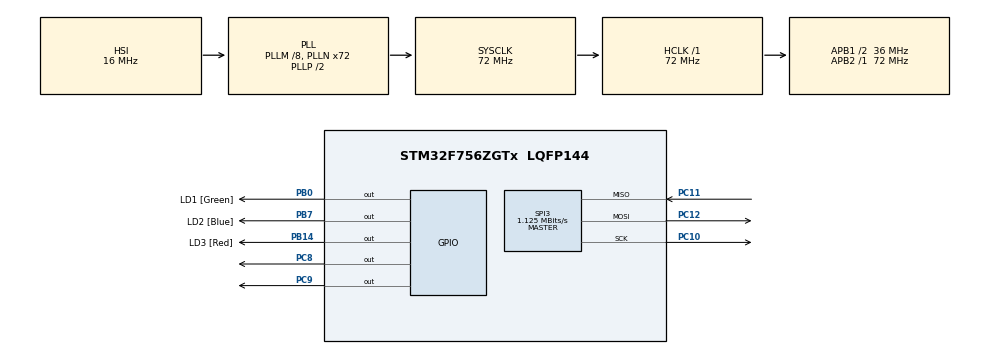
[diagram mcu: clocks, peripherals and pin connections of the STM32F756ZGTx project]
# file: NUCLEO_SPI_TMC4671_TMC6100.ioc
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Mcu.Family=STM32F7
Mcu.Name=STM32F756ZGTx
Mcu.Package=LQFP144
NVIC.PriorityGroup=NVIC_PRIORITYGROUP_4
PB0.GPIO_Label=LD1 [Green]
PB0.Signal=GPIO_Output
PB14.GPIO_Label=LD3 [Red]
PB14.Signal=GPIO_Output
PB7.GPIO_Label=LD2 [Blue]
PB7.Signal=GPIO_Output
PC10.Mode=Full_Duplex_Master
PC10.Signal=SPI3_SCK
PC11.Mode=Full_Duplex_Master
PC11.Signal=SPI3_MISO
PC12.Mode=Full_Duplex_Master
PC12.Signal=SPI3_MOSI
PC8.PinState=GPIO_PIN_SET
PC8.Signal=GPIO_Output
PC9.PinState=GPIO_PIN_SET
PC9.Signal=GPIO_Output
PH0/OSC_IN.Mode=HSE-External-Oscillator
PH0/OSC_IN.Signal=RCC_OSC_IN
PH1/OSC_OUT.Mode=HSE-External-Oscillator
PH1/OSC_OUT.Signal=RCC_OSC_OUT
ProjectManager.HeapSize=0x200
ProjectManager.StackSize=0x400
ProjectManager.TargetToolchain=STM32CubeIDE
RCC.48MHZClocksFreq_Value=24000000
RCC.AHBFreq_Value=72000000
RCC.APB1CLKDivider=RCC_HCLK_DIV2
RCC.APB1Freq_Value=36000000
RCC.APB1TimFreq_Value=72000000
RCC.APB2Freq_Value=72000000
RCC.APB2TimFreq_Value=72000000
RCC.CortexFreq_Value=72000000
RCC.HCLKFreq_Value=72000000
RCC.HSE_VALUE=8000000
RCC.HSI_VALUE=16000000
RCC.LSE_VALUE=32768
RCC.PLLM=8
RCC.PLLMUL=RCC_PLL_MUL9
RCC.PLLN=72
RCC.PLLQ=4
RCC.PRESCALERUSB=RCC_USBCLKSOURCE_PLL_DIV1_5
RCC.SYSCLKFreq_VALUE=72000000
RCC.SYSCLKSource=RCC_SYSCLKSOURCE_PLLCLK
RCC.SYSCLKSourceVirtual=RCC_SYSCLKSOURCE_PLLCLK
RCC.USBFreq_Value=36000000
RCC.VCOOutputFreq_Value=144000000
SPI3.BaudRatePrescaler=SPI_BAUDRATEPRESCALER_32
SPI3.CLKPhase=SPI_PHASE_2EDGE
SPI3.CLKPolarity=SPI_POLARITY_HIGH
SPI3.CalculateBaudRate=1.125 MBits/s
SPI3.DataSize=SPI_DATASIZE_8BIT
SPI3.Direction=SPI_DIRECTION_2LINES
SPI3.Mode=SPI_MODE_MASTER
SPI3.VirtualType=VM_MASTER
board=NUCLEO-F756ZG

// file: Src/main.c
/* USER CODE BEGIN Header */
/**
  ******************************************************************************
  * @file           : main.c
  * @brief          : Main program body
  ******************************************************************************
  * @attention
  *
  * Copyright (c) 2025 STMicroelectronics.
  * All rights reserved.
  *
  * This software is licensed under terms that can be found in the LICENSE file
  * in the root directory of this software component.
  * If no LICENSE file comes with this software, it is provided AS-IS.
  *
  ******************************************************************************
  */
/* USER CODE END Header */
#include "main.h"

/* USER CODE BEGIN Includes */
#include "string.h"
#include <stdio.h>

/* USER CODE END Includes */

/* USER CODE BEGIN PD */

#define DRV_CS_GPIO_Port GPIOC
#define DRV_CS_Pin GPIO_PIN_9

#define CTR_CS_GPIO_Port GPIOC
#define CTR_CS_Pin GPIO_PIN_8

// SPI Read/Write Masks
#define TMC4671_SPI_WRITE_MASK	0x80

// // Motor type &  PWM configuration
#define MOTOR_TYPE_N_POLE_PAIRS 0x1B
#define PWM_POLARITIES 0x17
#define PWM_MAXCNT 0x18
#define PWM_BBM_H_BBM_L 0x19
#define PWM_SV_CHOP 0x1A

// ADC configuration
#define ADC_I_SELECT 0x0A
#define dsADC_MCFG_B_MCFG_A 0x04
#define dsADC_MCLK_A 0x05
#define dsADC_MCLK_B 0x06
#define dsADC_MDEC_B_MDEC_A 0x07
#define ADC_I0_SCALE_OFFSET 0x09
#define ADC_I1_SCALE_OFFSET 0x08

// ABN encoder settings
#define ABN_DECODER_MODE 0x25
#define ABN_DECODER_PPR 0x26
#define ABN_DECODER_COUNT 0x27
#define ABN_DECODER_PHI_E_PHI_M_OFFSET 0x29

// Limits
#define PID_TORQUE_FLUX_LIMITS 0x5E

// PI settings
#define PID_TORQUE_P_TORQUE_I 0x56
#define PID_FLUX_P_FLUX_I 0x54

// Init encoder (mode 0)
#define MODE_RAMP_MODE_MOTION 0x63 // 1. Switches to Open Loop Mode
#define ABN_DECODER_PHI_E_PHI_M_OFFSET 0x29
#define PHI_E_SELECTION 0x52 // 2. Uses the internal Phi_E_Ext angle allocator
#define PHI_E_EXT 0x1C // 3. Sets the electrical target angle to exactly 0°
#define UQ_UD_EXT 0x24 // 4. Applies a strong voltage (Ud) to force lock the rotor
// wait(1000); // 5. Waits 1 second for the motor to physically snap and settle
#define ABN_DECODER_COUNT 0x27 // 6. Resets the encoder counter to 0 at this physical position

// Feedback selection
#define PHI_E_SELECTION 0x52 // Switches FOC commutation source to the ABN Encoder!
#define VELOCITY_SELECTION 0x50

#define PID_TORQUE_FLUX_TARGET 0x64

// PI tuning
#define PID_TORQUE_P_PID_TORQUE_I 0x56
#define PID_FLUX_P_PID_FLUX_I 0x54
#define PID_VELOCITY_P_VELOCITY_I 0x58
#define PID_POSITION_P_POSITION_I 0x5a
#define POSITION_SELECTION 0x51

// velocity target selection in velocity mode
#define PID_VELOCITY_TARGET 0x66

// position mode target selection
#define PID_POSITION_TARGET 0x68
#define PID_POSITION_ACTUAL 0x6B

/* USER CODE END PD */

SPI_HandleTypeDef hspi3;

void SystemClock_Config(void);
static void MX_GPIO_Init(void);
static void MX_SPI3_Init(void);
/* USER CODE BEGIN PFP */

void TMC6100_Write(uint8_t reg, uint32_t value)
{
    uint8_t tx[5];
    uint8_t rx[5] = {0};

    tx[0] = 0x80 | reg;                    // Write command (MSB=1)
    tx[1] = (value >> 24) & 0xFF;
    tx[2] = (value >> 16) & 0xFF;
    tx[3] = (value >> 8)  & 0xFF;
    tx[4] = value & 0xFF;

    HAL_GPIO_WritePin(DRV_CS_GPIO_Port, DRV_CS_Pin, GPIO_PIN_RESET);
    HAL_SPI_TransmitReceive(&hspi3, tx, rx, 5, 100);
    HAL_GPIO_WritePin(DRV_CS_GPIO_Port, DRV_CS_Pin, GPIO_PIN_SET);

    printf("Wrote 0x%08lX to register 0x%02X\r\n", value, reg);
}

void TMC4671_Write(uint8_t reg1, uint32_t value1)
{
    uint8_t tx1[5];
    uint8_t rx1[5] = {0};

    tx1[0] = 0x80 | reg1;                    // Write command (MSB=1)
    tx1[1] = (value1 >> 24) & 0xFF;
    tx1[2] = (value1 >> 16) & 0xFF;
    tx1[3] = (value1 >> 8)  & 0xFF;
    tx1[4] = value1 & 0xFF;

    HAL_GPIO_WritePin(CTR_CS_GPIO_Port, CTR_CS_Pin, GPIO_PIN_RESET);
    HAL_SPI_TransmitReceive(&hspi3, tx1, rx1, 5, 100);
    HAL_GPIO_WritePin(CTR_CS_GPIO_Port, CTR_CS_Pin, GPIO_PIN_SET);

    printf("Wrote 0x%08lX to register 0x%02X\r\n", value1, reg1);
}

uint32_t TMC6100_Read(uint8_t reg)
{
    uint8_t tx[5] = {0};
    uint8_t rx[5] = {0};

    tx[0] = reg;        // Read command (MSB=0)

    HAL_GPIO_WritePin(DRV_CS_GPIO_Port, DRV_CS_Pin, GPIO_PIN_RESET);
    HAL_SPI_TransmitReceive(&hspi3, tx, rx, 5, 100);
    HAL_GPIO_WritePin(DRV_CS_GPIO_Port, DRV_CS_Pin, GPIO_PIN_SET);

    uint32_t value = ((uint32_t)rx[1] << 24) | ((uint32_t)rx[2] << 16) |
                     ((uint32_t)rx[3] << 8)  | rx[4];

    printf("Read  reg 0x%02X = 0x%08lX\r\n", reg, value);
    return value;
}

uint32_t TMC4671_Read(uint8_t reg1)
{
    uint8_t tx1[5] = {0};
    uint8_t rx1[5] = {0};

    tx1[0] = reg1;        // Read command (MSB=0)

    HAL_GPIO_WritePin(CTR_CS_GPIO_Port, CTR_CS_Pin, GPIO_PIN_RESET);
    HAL_SPI_TransmitReceive(&hspi3, tx1, rx1, 5, 100);
    HAL_GPIO_WritePin(CTR_CS_GPIO_Port, CTR_CS_Pin, GPIO_PIN_SET);

    uint32_t value1 = ((uint32_t)rx1[1] << 24) | ((uint32_t)rx1[2] << 16) |
                     ((uint32_t)rx1[3] << 8)  | rx1[4];

    printf("Read  reg 0x%02X = 0x%08lX\r\n", reg1, value1);
    return value1;
}

void TMC6100_Init(void)
{
    printf("\r\n=== TMC6100 Safe Configuration ===\r\n");

    // Clear any pending status flags
    TMC6100_Write(0x01, 0xFFFFFFFF);   // GSTAT

    // ====================== GCONF TEST ======================
    // setting bit to 1 so we can see if it realy changes the register values, otherwise other values looks like are default settings
    uint32_t gconf = TMC6100_Read(0x00);
    printf("GCONF before = 0x%08lX   | singleline = %lu\r\n",
           gconf, (gconf >> 1) & 1);

    // === TEST: Set singleline = 1 ===
    gconf |= (1UL << 1);                    // Set bit 1 to 1
    TMC6100_Write(0x00, gconf);

    // Read back to verify
    gconf = TMC6100_Read(0x00);
    printf("GCONF after  = 0x%08lX   | singleline = %lu  (should be 1)\r\n",
           gconf, (gconf >> 1) & 1);

    // ====================== GCONF ======================
    // === 1. GCONF: Set only singleline bit to 0 ===

    //uint32_t gconf = TMC6100_Read(0x00);           // Read current value
    gconf = TMC6100_Read(0x00);           // Read current value
    printf("GCONF before modify = 0x%08lX   | singleline bit = %lu\r\n",
           gconf, (gconf >> 1) & 1);

    gconf &= ~(1UL << 1);                          // Clear bit 1 (singleline = 0)
    // 1UL = the number 1 as an unsigned long (32-bit). << 1 = shift left by 1 bit.
    // 1UL << 1 = 0b00000010 (binary) = 2 in decimal. This creates a mask with only bit 1 set.
    // ~ = bitwise NOT → inverts all bits.
    // So ~(1UL << 1) = 0b...11111101 (all bits 1 except bit 1 which is 0).
    // Result: This clears (sets to 0) only bit 1 of the register (gconf changed 1 bit), while leaving all other bits unchanged.
    // 1UL << 1		Mask for bit 1
    // ~(1UL << 1)	Clear only bit 1

    // gconf |= (1UL << x);                        // You can set other bits here if needed

    TMC6100_Write(0x00, gconf);

    // Verify after write
    gconf = TMC6100_Read(0x00);
    printf("GCONF after  modify = 0x%08lX   | singleline bit = %lu  (should be 0)\r\n",
           gconf, (gconf >> 1) & 1);

    // ====================== DRV_CONF ======================
    // === 2. DRV_CONF: Set only DRVSTRENGTH to 00 (weak) ===
    uint32_t drvconf = TMC6100_Read(0x0A);         // Read current value

    printf("DRV_CONF before = 0x%08lX   | DRVSTRENGTH = %lu (bits 19:18)\r\n",
               drvconf, (drvconf >> 18) & 3);

    // Force DRVSTRENGTH = 00 (weak)
    drvconf &= ~(3UL << 18);                       // Clear bits 19:18
    // You want to control 2 bits: bits 19 and 18 (DRVSTRENGTH).
    // 3UL in binary is 0b11 (two bits set to 1).
    // 3UL << 18 shifts these two 1s to the correct position by 18 positions:
    // 3UL << 18 = 0b0000 0000 0 -> OO <- 0 1100 0000 0000 0000 0000
    // So 3UL << 18 creates a mask for 2 bits.
    // ~ inverts it → all bits 1 except bits 19 and 18 which become 0.
    // &= applies this mask → clears both bit 19 and bit 18.
    // This is the standard way to clear a multi-bit field.
    // 3UL << 18	Mask for bits 19+18
    // ~(3UL << 18)	Clear bits 19 and 18

    // drvconf |= (0UL << 18);                     // 00 = weak (already cleared)
    TMC6100_Write(0x0A, drvconf);

    // Verify after write
    drvconf = TMC6100_Read(0x0A);
    printf("DRV_CONF after  = 0x%08lX   | DRVSTRENGTH = %lu (should be 0)\r\n",
           drvconf, (drvconf >> 18) & 3);

    printf("=== TMC6100 Configuration Finished ===\r\n\r\n");
}

void TMC4671_Init(void)
{
	uint32_t feedback;
	uint32_t expected_feedback;

////////////////////////////  Motor type &  PWM configuration /////////////////////////////////////////
    TMC4671_Write(MOTOR_TYPE_N_POLE_PAIRS, 0x0003000B);
    expected_feedback = 0x0003000B;
    // Read back to verify
    feedback = TMC4671_Read(MOTOR_TYPE_N_POLE_PAIRS);
    if (feedback == expected_feedback) {
        printf("MOTOR_TYPE_N_POLE_PAIRS verification: SUCCESS (0x%08lX)\r\n", feedback);
    } else {
        printf("MOTOR_TYPE_N_POLE_PAIRS verification: FAILED! Expected 0x%08lX, got 0x%08lX\r\n", expected_feedback, feedback);
    }

    TMC4671_Write(PWM_POLARITIES, 0x00000000);
    expected_feedback = 0x00000000;
    // Read back to verify
    feedback = TMC4671_Read(PWM_POLARITIES);
    if (feedback == expected_feedback) {
        printf("MOTOR_TYPE_N_POLE_PAIRS verification: SUCCESS (0x%08lX)\r\n", feedback);
    } else {
        printf("MOTOR_TYPE_N_POLE_PAIRS verification: FAILED! Expected 0x%08lX, got 0x%08lX\r\n", expected_feedback, feedback);
    }

    TMC4671_Write(PWM_MAXCNT, 0x00000F9F);
    expected_feedback = 0x00000F9F;
    // Read back to verify
    feedback = TMC4671_Read(PWM_MAXCNT);
    if (feedback == expected_feedback) {
        printf("MOTOR_TYPE_N_POLE_PAIRS verification: SUCCESS (0x%08lX)\r\n", feedback);
    } else {
        printf("MOTOR_TYPE_N_POLE_PAIRS verification: FAILED! Expected 0x%08lX, got 0x%08lX\r\n", expected_feedback, feedback);
    }

    TMC4671_Write(PWM_BBM_H_BBM_L, 0x00002828);
    expected_feedback = 0x00002828;
    // Read back to verify
    feedback = TMC4671_Read(PWM_BBM_H_BBM_L);
    if (feedback == expected_feedback) {
        printf("MOTOR_TYPE_N_POLE_PAIRS verification: SUCCESS (0x%08lX)\r\n", feedback);
    } else {
        printf("MOTOR_TYPE_N_POLE_PAIRS verification: FAILED! Expected 0x%08lX, got 0x%08lX\r\n", expected_feedback, feedback);
    }

    TMC4671_Write(PWM_SV_CHOP, 0x00000007);
    expected_feedback = 0x00000007;
    // Read back to verify
    feedback = TMC4671_Read(PWM_SV_CHOP);
    if (feedback == expected_feedback) {
        printf("MOTOR_TYPE_N_POLE_PAIRS verification: SUCCESS (0x%08lX)\r\n", feedback);
    } else {
        printf("MOTOR_TYPE_N_POLE_PAIRS verification: FAILED! Expected 0x%08lX, got 0x%08lX\r\n", expected_feedback, feedback);
    }

    ////////////////////////////  Motor type &  PWM configuration /////////////////////////////////////////

    ////////////////////////////  ADC configuration /////////////////////////////////////////

    TMC4671_Write(ADC_I_SELECT, 0x18000100);
    expected_feedback = 0x18000100;
    // Read back to verify
    feedback = TMC4671_Read(ADC_I_SELECT);
    if (feedback == expected_feedback) {
        printf("MOTOR_TYPE_N_POLE_PAIRS verification: SUCCESS (0x%08lX)\r\n", feedback);
    } else {
        printf("MOTOR_TYPE_N_POLE_PAIRS verification: FAILED! Expected 0x%08lX, got 0x%08lX\r\n", expected_feedback, feedback);
    }

    TMC4671_Write(dsADC_MCFG_B_MCFG_A, 0x00100010);
    expected_feedback = 0x00100010;
    // Read back to verify
    feedback = TMC4671_Read(dsADC_MCFG_B_MCFG_A);
    if (feedback == expected_feedback) {
        printf("MOTOR_TYPE_N_POLE_PAIRS verification: SUCCESS (0x%08lX)\r\n", feedback);
    } else {
        printf("MOTOR_TYPE_N_POLE_PAIRS verification: FAILED! Expected 0x%08lX, got 0x%08lX\r\n", expected_feedback, feedback);
    }

    TMC4671_Write(dsADC_MCLK_A, 0x20000000);
    expected_feedback = 0x20000000;
    // Read back to verify
    feedback = TMC4671_Read(dsADC_MCLK_A);
    if (feedback == expected_feedback) {
        printf("MOTOR_TYPE_N_POLE_PAIRS verification: SUCCESS (0x%08lX)\r\n", feedback);
    } else {
        printf("MOTOR_TYPE_N_POLE_PAIRS verification: FAILED! Expected 0x%08lX, got 0x%08lX\r\n", expected_feedback, feedback);
    }

    TMC4671_Write(dsADC_MCLK_B, 0x20000000);
    expected_feedback = 0x20000000;
    // Read back to verify
    feedback = TMC4671_Read(dsADC_MCLK_B);
    if (feedback == expected_feedback) {
        printf("MOTOR_TYPE_N_POLE_PAIRS verification: SUCCESS (0x%08lX)\r\n", feedback);
    } else {
        printf("MOTOR_TYPE_N_POLE_PAIRS verification: FAILED! Expected 0x%08lX, got 0x%08lX\r\n", expected_feedback, feedback);
    }

    TMC4671_Write(dsADC_MDEC_B_MDEC_A, 0x014E014E);
    expected_feedback = 0x014E014E;
    // Read back to verify
    feedback = TMC4671_Read(dsADC_MDEC_B_MDEC_A);
    if (feedback == expected_feedback) {
        printf("MOTOR_TYPE_N_POLE_PAIRS verification: SUCCESS (0x%08lX)\r\n", feedback);
    } else {
        printf("MOTOR_TYPE_N_POLE_PAIRS verification: FAILED! Expected 0x%08lX, got 0x%08lX\r\n", expected_feedback, feedback);
    }

    TMC4671_Write(ADC_I0_SCALE_OFFSET, 0x010081D5);
    expected_feedback = 0x010081D5;
    // Read back to verify
    feedback = TMC4671_Read(ADC_I0_SCALE_OFFSET);
    if (feedback == expected_feedback) {
        printf("MOTOR_TYPE_N_POLE_PAIRS verification: SUCCESS (0x%08lX)\r\n", feedback);
    } else {
        printf("MOTOR_TYPE_N_POLE_PAIRS verification: FAILED! Expected 0x%08lX, got 0x%08lX\r\n", expected_feedback, feedback);
    }

    TMC4671_Write(ADC_I1_SCALE_OFFSET, 0x01008133);
    expected_feedback = 0x01008133;
    // Read back to verify
    feedback = TMC4671_Read(ADC_I1_SCALE_OFFSET);
    if (feedback == expected_feedback) {
        printf("MOTOR_TYPE_N_POLE_PAIRS verification: SUCCESS (0x%08lX)\r\n", feedback);
    } else {
        printf("MOTOR_TYPE_N_POLE_PAIRS verification: FAILED! Expected 0x%08lX, got 0x%08lX\r\n", expected_feedback, feedback);
    }

    ////////////////////////////  ADC configuration /////////////////////////////////////////

    ////////////////////////////  ABN encoder settings /////////////////////////////////////////

    TMC4671_Write(ABN_DECODER_MODE, 0x0000100F);
    expected_feedback = 0x0000100F;
    // Read back to verify
    feedback = TMC4671_Read(ABN_DECODER_MODE);
    if (feedback == expected_feedback) {
        printf("MOTOR_TYPE_N_POLE_PAIRS verification: SUCCESS (0x%08lX)\r\n", feedback);
    } else {
        printf("MOTOR_TYPE_N_POLE_PAIRS verification: FAILED! Expected 0x%08lX, got 0x%08lX\r\n", expected_feedback, feedback);
    }

    TMC4671_Write(ABN_DECODER_PPR, 0x00001000);
    expected_feedback = 0x00001000;
    // Read back to verify
    feedback = TMC4671_Read(ABN_DECODER_PPR);
    if (feedback == expected_feedback) {
        printf("MOTOR_TYPE_N_POLE_PAIRS verification: SUCCESS (0x%08lX)\r\n", feedback);
    } else {
        printf("MOTOR_TYPE_N_POLE_PAIRS verification: FAILED! Expected 0x%08lX, got 0x%08lX\r\n", expected_feedback, feedback);
    }

    TMC4671_Write(ABN_DECODER_COUNT, 0x00000025);
    expected_feedback = 0x00000025;
    // Read back to verify
    feedback = TMC4671_Read(ABN_DECODER_COUNT);
    if (feedback == expected_feedback) {
        printf("MOTOR_TYPE_N_POLE_PAIRS verification: SUCCESS (0x%08lX)\r\n", feedback);
    } else {
        printf("MOTOR_TYPE_N_POLE_PAIRS verification: FAILED! Expected 0x%08lX, got 0x%08lX\r\n", expected_feedback, feedback);
    }

    TMC4671_Write(ABN_DECODER_PHI_E_PHI_M_OFFSET, 0x00000000);
    expected_feedback = 0x00000000;
    // Read back to verify
    feedback = TMC4671_Read(ABN_DECODER_PHI_E_PHI_M_OFFSET);
    if (feedback == expected_feedback) {
        printf("MOTOR_TYPE_N_POLE_PAIRS verification: SUCCESS (0x%08lX)\r\n", feedback);
    } else {
        printf("MOTOR_TYPE_N_POLE_PAIRS verification: FAILED! Expected 0x%08lX, got 0x%08lX\r\n", expected_feedback, feedback);
    }

    ////////////////////////////  ABN encoder settings /////////////////////////////////////////

    ////////////////////////////  Limits /////////////////////////////////////////

    TMC4671_Write(PID_TORQUE_FLUX_LIMITS, 0x000003E8);
    expected_feedback = 0x000003E8;
    // Read back to verify
    feedback = TMC4671_Read(PID_TORQUE_FLUX_LIMITS);
    if (feedback == expected_feedback) {
        printf("MOTOR_TYPE_N_POLE_PAIRS verification: SUCCESS (0x%08lX)\r\n", feedback);
    } else {
        printf("MOTOR_TYPE_N_POLE_PAIRS verification: FAILED! Expected 0x%08lX, got 0x%08lX\r\n", expected_feedback, feedback);
    }

    ////////////////////////////  Limits /////////////////////////////////////////

    ////////////////////////////  PI settings /////////////////////////////////////////

    TMC4671_Write(PID_TORQUE_P_TORQUE_I, 0x01000100);
    expected_feedback = 0x01000100;
    // Read back to verify
    feedback = TMC4671_Read(PID_TORQUE_P_TORQUE_I);
    if (feedback == expected_feedback) {
        printf("MOTOR_TYPE_N_POLE_PAIRS verification: SUCCESS (0x%08lX)\r\n", feedback);
    } else {
        printf("MOTOR_TYPE_N_POLE_PAIRS verification: FAILED! Expected 0x%08lX, got 0x%08lX\r\n", expected_feedback, feedback);
    }

    TMC4671_Write(PID_FLUX_P_FLUX_I, 0x01000100);
    expected_feedback = 0x01000100;
    // Read back to verify
    feedback = TMC4671_Read(PID_FLUX_P_FLUX_I);
    if (feedback == expected_feedback) {
        printf("MOTOR_TYPE_N_POLE_PAIRS verification: SUCCESS (0x%08lX)\r\n", feedback);
    } else {
        printf("MOTOR_TYPE_N_POLE_PAIRS verification: FAILED! Expected 0x%08lX, got 0x%08lX\r\n", expected_feedback, feedback);
    }

    ////////////////////////////  PI settings /////////////////////////////////////////

    ////////////////////////////  ===== ABN encoder test drive ===== /////////////////////////////////////////

    // Init encoder (mode 0)
    TMC4671_Write(MODE_RAMP_MODE_MOTION, 0x00000008); // 1. Switches to Open Loop Mode
    expected_feedback = 0x00000008;
    // Read back to verify
    feedback = TMC4671_Read(MODE_RAMP_MODE_MOTION);
    if (feedback == expected_feedback) {
        printf("MOTOR_TYPE_N_POLE_PAIRS verification: SUCCESS (0x%08lX)\r\n", feedback);
    } else {
        printf("MOTOR_TYPE_N_POLE_PAIRS verification: FAILED! Expected 0x%08lX, got 0x%08lX\r\n", expected_feedback, feedback);
    }

    TMC4671_Write(ABN_DECODER_PHI_E_PHI_M_OFFSET, 0x00000000);
    expected_feedback = 0x00000000;
    // Read back to verify
    feedback = TMC4671_Read(ABN_DECODER_PHI_E_PHI_M_OFFSET);
    if (feedback == expected_feedback) {
        printf("MOTOR_TYPE_N_POLE_PAIRS verification: SUCCESS (0x%08lX)\r\n", feedback);
    } else {
        printf("MOTOR_TYPE_N_POLE_PAIRS verification: FAILED! Expected 0x%08lX, got 0x%08lX\r\n", expected_feedback, feedback);
    }

    TMC4671_Write(PHI_E_SELECTION, 0x00000001); // 2. Uses the internal Phi_E_Ext angle allocator
    expected_feedback = 0x00000001;
    // Read back to verify
    feedback = TMC4671_Read(PHI_E_SELECTION);
    if (feedback == expected_feedback) {
        printf("MOTOR_TYPE_N_POLE_PAIRS verification: SUCCESS (0x%08lX)\r\n", feedback);
    } else {
        printf("MOTOR_TYPE_N_POLE_PAIRS verification: FAILED! Expected 0x%08lX, got 0x%08lX\r\n", expected_feedback, feedback);
    }

    TMC4671_Write(PHI_E_EXT, 0x00000000); // 3. Sets the electrical target angle to exactly 0°
    expected_feedback = 0x00000000;
    // Read back to verify
    feedback = TMC4671_Read(PHI_E_EXT);
    if (feedback == expected_feedback) {
        printf("MOTOR_TYPE_N_POLE_PAIRS verification: SUCCESS (0x%08lX)\r\n", feedback);
    } else {
        printf("MOTOR_TYPE_N_POLE_PAIRS verification: FAILED! Expected 0x%08lX, got 0x%08lX\r\n", expected_feedback, feedback);
    }

    TMC4671_Write(UQ_UD_EXT, 0x00000FA0); // 4. Applies a strong voltage (Ud) to force lock the rotor
    expected_feedback = 0x00000FA0;
    // Read back to verify
    feedback = TMC4671_Read(UQ_UD_EXT);
    if (feedback == expected_feedback) {
        printf("MOTOR_TYPE_N_POLE_PAIRS verification: SUCCESS (0x%08lX)\r\n", feedback);
    } else {
        printf("MOTOR_TYPE_N_POLE_PAIRS verification: FAILED! Expected 0x%08lX, got 0x%08lX\r\n", expected_feedback, feedback);
    }

    HAL_Delay(1000); // 5. Waits 1 second for the motor to physically snap and settle

    TMC4671_Write(ABN_DECODER_COUNT, 0x00000000); // 6. Resets the encoder counter to 0 at this physical position
    expected_feedback = 0x00000000;
    // Read back to verify
    feedback = TMC4671_Read(ABN_DECODER_COUNT);
    if (feedback == expected_feedback) {
        printf("MOTOR_TYPE_N_POLE_PAIRS verification: SUCCESS (0x%08lX)\r\n", feedback);
    } else {
        printf("MOTOR_TYPE_N_POLE_PAIRS verification: FAILED! Expected 0x%08lX, got 0x%08lX\r\n", expected_feedback, feedback);
    }

    ////////////////////////////  ===== ABN encoder test drive ===== /////////////////////////////////////////

    //////////////////////////// Feedback selection /////////////////////////////////////////

    TMC4671_Write(PHI_E_SELECTION, 0x00000003); // Switches FOC commutation source to the ABN Encoder!
    expected_feedback = 0x00000003;
    // Read back to verify
    feedback = TMC4671_Read(PHI_E_SELECTION);
    if (feedback == expected_feedback) {
        printf("MOTOR_TYPE_N_POLE_PAIRS verification: SUCCESS (0x%08lX)\r\n", feedback);
    } else {
        printf("MOTOR_TYPE_N_POLE_PAIRS verification: FAILED! Expected 0x%08lX, got 0x%08lX\r\n", expected_feedback, feedback);
    }

    TMC4671_Write(VELOCITY_SELECTION, 0x00000009);
    expected_feedback = 0x00000009;
    // Read back to verify
    feedback = TMC4671_Read(VELOCITY_SELECTION);
    if (feedback == expected_feedback) {
        printf("MOTOR_TYPE_N_POLE_PAIRS verification: SUCCESS (0x%08lX)\r\n", feedback);
    } else {
        printf("MOTOR_TYPE_N_POLE_PAIRS verification: FAILED! Expected 0x%08lX, got 0x%08lX\r\n", expected_feedback, feedback);
    }

    //////////////////////////// Feedback selection /////////////////////////////////////////

    //////////////////////////// Switch to torque mode /////////////////////////////////////////

    TMC4671_Write(MODE_RAMP_MODE_MOTION, 0x00000001);
    expected_feedback = 0x00000001;
    // Read back to verify
    feedback = TMC4671_Read(MODE_RAMP_MODE_MOTION);
    if (feedback == expected_feedback) {
        printf("MOTOR_TYPE_N_POLE_PAIRS verification: SUCCESS (0x%08lX)\r\n", feedback);
    } else {
        printf("MOTOR_TYPE_N_POLE_PAIRS verification: FAILED! Expected 0x%08lX, got 0x%08lX\r\n", expected_feedback, feedback);
    }

    //////////////////////////// Switch to torque mode /////////////////////////////////////////
}

void TMC4671_test(void)
{

    TMC4671_Write(MODE_RAMP_MODE_MOTION, 0x00000001); // Switches the chip into Torque Mode
    TMC4671_Write(PID_TORQUE_FLUX_TARGET, 0x03E80000); // Rotate right
    HAL_Delay(3000);
    TMC4671_Write(PID_TORQUE_FLUX_TARGET, 0xFC180000); // Rotate left
    HAL_Delay(3000);
    TMC4671_Write(PID_TORQUE_FLUX_TARGET, 0x00000000); // Stop

}

void TMC4671_PI_tuning(void)
{
    uint16_t p_gain = 256;
    uint16_t i_gain = 256;

    // CURRENT CONTROL
    // Combine them: Shift P to the upper 16 bits, and clear/place I in the lower 16 bits
    uint32_t reg_value = ((uint32_t)p_gain << 16) | (i_gain & 0xFFFF);
    TMC4671_Write(PID_TORQUE_P_PID_TORQUE_I, reg_value);
    // Combine them: Shift P to the upper 16 bits, and clear/place I in the lower 16 bits
    reg_value = ((uint32_t)p_gain << 16) | (i_gain & 0xFFFF); // same values in torque and flux registers as per tuning
    TMC4671_Write(PID_FLUX_P_PID_FLUX_I, reg_value);

    // VELOCITY CONTROL
    uint16_t p_velocity = 600;
    uint16_t i_velocity = 12;
    // Combine them: Shift P to the upper 16 bits, and clear/place I in the lower 16 bits
    reg_value = ((uint32_t)p_velocity << 16) | (i_velocity & 0xFFFF); // same values in torque and flux registers as per tuning
    TMC4671_Write(PID_VELOCITY_P_VELOCITY_I, reg_value);

    // POSITION CONTROL
    TMC4671_Write(POSITION_SELECTION, 0x00000009); //phi_m_abn
    uint16_t p_pos = 15;
    uint16_t i_pos = 0;
    // Combine them: Shift P to the upper 16 bits, and clear/place I in the lower 16 bits
    reg_value = ((uint32_t)p_pos << 16) | (i_pos & 0xFFFF); // same values in torque and flux registers as per tuning
    TMC4671_Write(PID_POSITION_P_POSITION_I, reg_value);
}

void TMC4671_test_after_PI_tuning(void)
{

    TMC4671_Write(MODE_RAMP_MODE_MOTION, 0x00000001); // Switches the chip into Torque Mode
    TMC4671_Write(PID_TORQUE_FLUX_TARGET, 0x03E80000); // Rotate right
    HAL_Delay(3000);
    TMC4671_Write(PID_TORQUE_FLUX_TARGET, 0xFC180000); // Rotate left
    HAL_Delay(3000);
    TMC4671_Write(PID_TORQUE_FLUX_TARGET, 0x00000000); // Stop

}

void TMC4671_velocity_mode_test(void)
{
    TMC4671_Write(MODE_RAMP_MODE_MOTION, 0x00000002); // Switches the chip into velocity mode
    TMC4671_Write(PID_VELOCITY_TARGET, 1000); // Rotate right // you can write simple in decimal values because all register is for this one unlike the torque flux register which is split for multiple entries;
    HAL_Delay(3000);
    TMC4671_Write(PID_VELOCITY_TARGET, -1000); // Rotate left
    HAL_Delay(3000);
    TMC4671_Write(PID_VELOCITY_TARGET, 0); // Stop

}

void TMC4671_position_mode_test(void)
{
	TMC4671_Write(PID_POSITION_ACTUAL, 0);
	TMC4671_Write(PID_POSITION_TARGET, 0);
	HAL_Delay(10);
    TMC4671_Write(MODE_RAMP_MODE_MOTION, 0x00000003); // Switches the chip into position mode
    TMC4671_Write(PID_POSITION_TARGET, 65535); // Rotate right // you can write simple in decimal values because all register is for this one unlike the torque flux register which is split for multiple entries;
    HAL_Delay(3000);
    TMC4671_Write(PID_POSITION_TARGET, 0); // return back to zero
    HAL_Delay(3000);
    TMC4671_Write(PID_POSITION_TARGET, -65535); // Rotate left
    HAL_Delay(3000);
    TMC4671_Write(PID_POSITION_TARGET, 0); // return back to zero
    HAL_Delay(3000);

    // In position mode, the motor does not spin at one fixed speed. Instead, the speed is determined by how far away the motor is from its target and how you have configured the limits of the controller.
    // There are two main things that dictate the speed in position mode: the Position PI Loop and the Ramp Generator.
    // Under this default setup, the maximum speed the motor hits during the transition depends entirely on your Position P Gain (PID_POSITION_P,
    // register 0x4C)and your Velocity Limit (PID_VELOCITY_LIMIT, register 0x4A). The motor will accelerate as hard as it can until it either hits your velocity limit or starts slowing down for the target.
}

/* USER CODE END PFP */

int main(void)
{

  /* MCU Configuration--------------------------------------------------------*/

  /* Reset of all peripherals, Initializes the Flash interface and the Systick. */
  HAL_Init();

  /* Configure the system clock */
  SystemClock_Config();

  /* Initialize all configured peripherals */
  MX_GPIO_Init();
  MX_SPI3_Init();
  /* USER CODE BEGIN 2 */

  printf("TMC6100 Test Start\r\n");
  TMC6100_Init();

  TMC4671_Init();

  //TMC4671_test();

  //HAL_Delay(7000);

  TMC4671_PI_tuning();

  //HAL_Delay(7000);

  //TMC4671_test_after_PI_tuning();

  //HAL_Delay(7000);

  //TMC4671_velocity_mode_test();

  //HAL_Delay(7000);

  TMC4671_position_mode_test();

  //HAL_Delay(7000);

  //TMC4671_test_after_PI_tuning();

  /* USER CODE END 2 */

  /* Infinite loop */
  /* USER CODE BEGIN WHILE */
  while (1)
  {

      // Optional: periodic status check
      //HAL_Delay(1000);
      //TMC6100_Read(0x01);  // Check GSTAT

	  //HAL_Delay(2000);

    /* USER CODE END WHILE */

  }
}

void SystemClock_Config(void)
{
  RCC_OscInitTypeDef RCC_OscInitStruct = {0};
  RCC_ClkInitTypeDef RCC_ClkInitStruct = {0};

  /** Configure the main internal regulator output voltage
  */
  __HAL_RCC_PWR_CLK_ENABLE();
  __HAL_PWR_VOLTAGESCALING_CONFIG(PWR_REGULATOR_VOLTAGE_SCALE3);

  /** Initializes the RCC Oscillators according to the specified parameters
  * in the RCC_OscInitTypeDef structure.
  */
  RCC_OscInitStruct.OscillatorType = RCC_OSCILLATORTYPE_HSI;
  RCC_OscInitStruct.HSIState = RCC_HSI_ON;
  RCC_OscInitStruct.HSICalibrationValue = RCC_HSICALIBRATION_DEFAULT;
  RCC_OscInitStruct.PLL.PLLState = RCC_PLL_ON;
  RCC_OscInitStruct.PLL.PLLSource = RCC_PLLSOURCE_HSI;
  RCC_OscInitStruct.PLL.PLLM = 8;
  RCC_OscInitStruct.PLL.PLLN = 72;
  RCC_OscInitStruct.PLL.PLLP = RCC_PLLP_DIV2;
  RCC_OscInitStruct.PLL.PLLQ = 4;
  if (HAL_RCC_OscConfig(&RCC_OscInitStruct) != HAL_OK)
  {
    Error_Handler();
  }

  /** Initializes the CPU, AHB and APB buses clocks
  */
  RCC_ClkInitStruct.ClockType = RCC_CLOCKTYPE_HCLK|RCC_CLOCKTYPE_SYSCLK
                              |RCC_CLOCKTYPE_PCLK1|RCC_CLOCKTYPE_PCLK2;
  RCC_ClkInitStruct.SYSCLKSource = RCC_SYSCLKSOURCE_PLLCLK;
  RCC_ClkInitStruct.AHBCLKDivider = RCC_SYSCLK_DIV1;
  RCC_ClkInitStruct.APB1CLKDivider = RCC_HCLK_DIV2;
  RCC_ClkInitStruct.APB2CLKDivider = RCC_HCLK_DIV1;

  if (HAL_RCC_ClockConfig(&RCC_ClkInitStruct, FLASH_LATENCY_2) != HAL_OK)
  {
    Error_Handler();
  }
}

static void MX_SPI3_Init(void)
{

  /* SPI3 parameter configuration*/
  hspi3.Instance = SPI3;
  hspi3.Init.Mode = SPI_MODE_MASTER;
  hspi3.Init.Direction = SPI_DIRECTION_2LINES;
  hspi3.Init.DataSize = SPI_DATASIZE_8BIT;
  hspi3.Init.CLKPolarity = SPI_POLARITY_HIGH;
  hspi3.Init.CLKPhase = SPI_PHASE_2EDGE;
  hspi3.Init.NSS = SPI_NSS_SOFT;
  hspi3.Init.BaudRatePrescaler = SPI_BAUDRATEPRESCALER_32;
  hspi3.Init.FirstBit = SPI_FIRSTBIT_MSB;
  hspi3.Init.TIMode = SPI_TIMODE_DISABLE;
  hspi3.Init.CRCCalculation = SPI_CRCCALCULATION_DISABLE;
  hspi3.Init.CRCPolynomial = 7;
  hspi3.Init.CRCLength = SPI_CRC_LENGTH_DATASIZE;
  hspi3.Init.NSSPMode = SPI_NSS_PULSE_DISABLE;
  if (HAL_SPI_Init(&hspi3) != HAL_OK)
  {
    Error_Handler();
  }

}

static void MX_GPIO_Init(void)
{
  GPIO_InitTypeDef GPIO_InitStruct = {0};

  /* GPIO Ports Clock Enable */
  __HAL_RCC_GPIOH_CLK_ENABLE();
  __HAL_RCC_GPIOB_CLK_ENABLE();
  __HAL_RCC_GPIOC_CLK_ENABLE();

  /*Configure GPIO pin Output Level */
  HAL_GPIO_WritePin(GPIOB, LD1_Pin|LD3_Pin|LD2_Pin, GPIO_PIN_RESET);

  /*Configure GPIO pin Output Level */
  HAL_GPIO_WritePin(GPIOC, GPIO_PIN_8|GPIO_PIN_9, GPIO_PIN_SET);

  /*Configure GPIO pins : LD1_Pin LD3_Pin LD2_Pin */
  GPIO_InitStruct.Pin = LD1_Pin|LD3_Pin|LD2_Pin;
  GPIO_InitStruct.Mode = GPIO_MODE_OUTPUT_PP;
  GPIO_InitStruct.Pull = GPIO_NOPULL;
  GPIO_InitStruct.Speed = GPIO_SPEED_FREQ_LOW;
  HAL_GPIO_Init(GPIOB, &GPIO_InitStruct);

  /*Configure GPIO pins : PC8 PC9 */
  GPIO_InitStruct.Pin = GPIO_PIN_8|GPIO_PIN_9;
  GPIO_InitStruct.Mode = GPIO_MODE_OUTPUT_PP;
  GPIO_InitStruct.Pull = GPIO_NOPULL;
  GPIO_InitStruct.Speed = GPIO_SPEED_FREQ_LOW;
  HAL_GPIO_Init(GPIOC, &GPIO_InitStruct);

}

void Error_Handler(void)
{
  __disable_irq();
  while (1)
  {
  }
}
